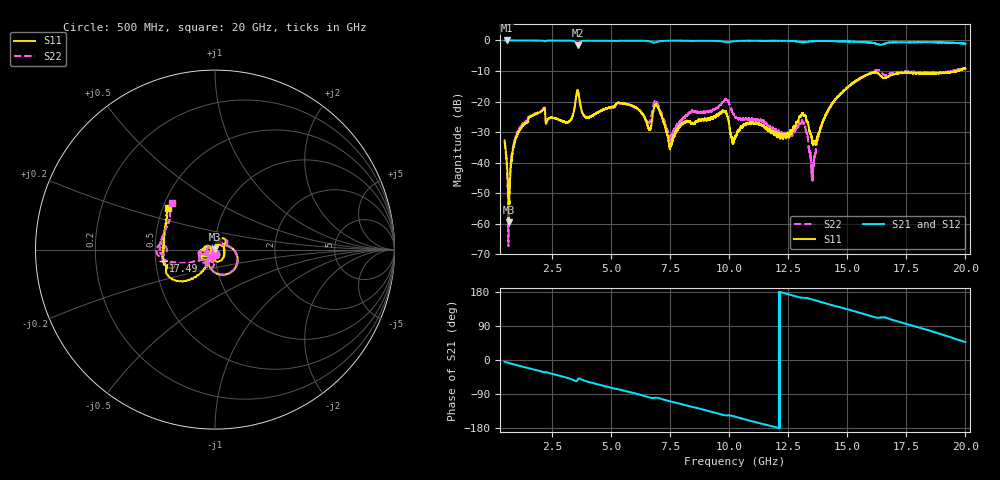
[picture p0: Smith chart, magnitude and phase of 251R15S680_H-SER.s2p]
!{251R15S680}
!Johanson Technology Inc.
!www.johansontechnology.com
!Test Board Conditions:
!Substrate Type  RO4350B
!Substrate Thickness  20 mil
!Substrate Dk  3.66
!TL Type: GCPW
!TL Trace Width  34 mil
!TL Gap  10 mil
!Electrode orientation  Horizontal
!DUT TOPOLOGY	SERIES
!Mounting Pad LxW  26x52 mil
! Created Thu Mar 12 17:15:55 2020
# mhz S ma R 50
! 2 Port Network Data from SP1.SP block
! freq  magS11  angS11  magS21  angS21  magS12  angS12  magS22  angS22
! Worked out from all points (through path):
!   19501 points, 500 MHz to 20 GHz, reference 50 ohm
!   highest |S21| = 0.00 dB at 599 MHz (marker M1); lowest = -1.5 dB at 3.588 GHz (marker M2)
!   group delay of S21, straight-line fit = 42.8 ps
!   lowest |S11| = -59.6 dB at 683 MHz (marker M3), VSWR 1.00, Z = 49.9 + j0.061 ohm
!   |S11| at or under -10 dB: start of sweep to 19.66 GHz; 19.65767 GHz to 19.65816 GHz (493.3 kHz wide, 0.00251 % of centre)
!   |S22| runs from -67.4 to -9.0 dB; largest |S21 - S12| = 0.02
!   S11 on the Smith chart (normalised r, x): 500 MHz: 0.99, -0.05; 17.49 GHz: 0.55, -0.07; 20 GHz: 0.54, +0.28
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500  0.02306 -96.6  0.9986 -4.5  0.9991 -4.5  0.02192 -95.8
599  0.009192 -104.1  0.9995 -6.5  0.9985 -6.4  0.008082 -97.4
683  0.001049 144.3  0.9993 -8.0  0.9985 -8.1  0.002071 88.9
872  0.01796 82.3  0.9989 -11.4  0.9988 -11.4  0.01964 77.3
1203  0.0372 76.4  0.9984 -16.7  0.9971 -16.8  0.03975 71.1
2112  0.07217 61.0  0.9921 -31.3  0.9917 -31.3  0.07393 51.9
3216  0.04653 40.4  0.9921 -48.2  0.9914 -48.3  0.04639 32.4
3588  0.1553 -53.0  0.8412 -52.3  0.842 -52.2  0.1545 -53.3
3750  0.07363 -121.6  0.9713 -51.4  0.9715 -51.4  0.07347 -124.4
5767  0.08868 -171.0  0.9905 -84.3  0.9908 -84.3  0.08779 -173.0
6625  0.03503 -159.5  0.9706 -98.8  0.972 -98.8  0.04509 -140.3
7000  0.07884 -173.1  0.9603 -100.3  0.9625 -100.3  0.08728 -161.7
7511  0.01863 83.6  0.9906 -109.2  0.9909 -109.2  0.02528 -112.3
9776  0.06822 -65.0  0.9567 -145.3  0.9555 -145.4  0.1004 -100.0
10250  0.02588 -59.2  0.975 -149.5  0.9751 -149.5  0.05627 -119.3
12348  0.02912 -123.9  0.9844 176.3  0.9855 176.3  0.03003 -89.9
13123  0.06307 179.2  0.9336 164.3  0.9344 164.3  0.04577 -170.4
13500  0.02514 164.4  0.9693 160.0  0.9713 160.1  0.005913 -178.9
14528  0.1099 -118.1  0.9667 141.7  0.97 141.7  0.1106 -146.1
16750  0.2582 -156.3  0.9225 109.4  0.9131 108.9  0.2783 -174.9
17493  0.2967 -168.1  0.9309 95.2  0.9322 95.0  0.3059 179.3
20000  0.3477 138.3  0.8826 47.1  0.8807 47.3  0.3557 132.5
